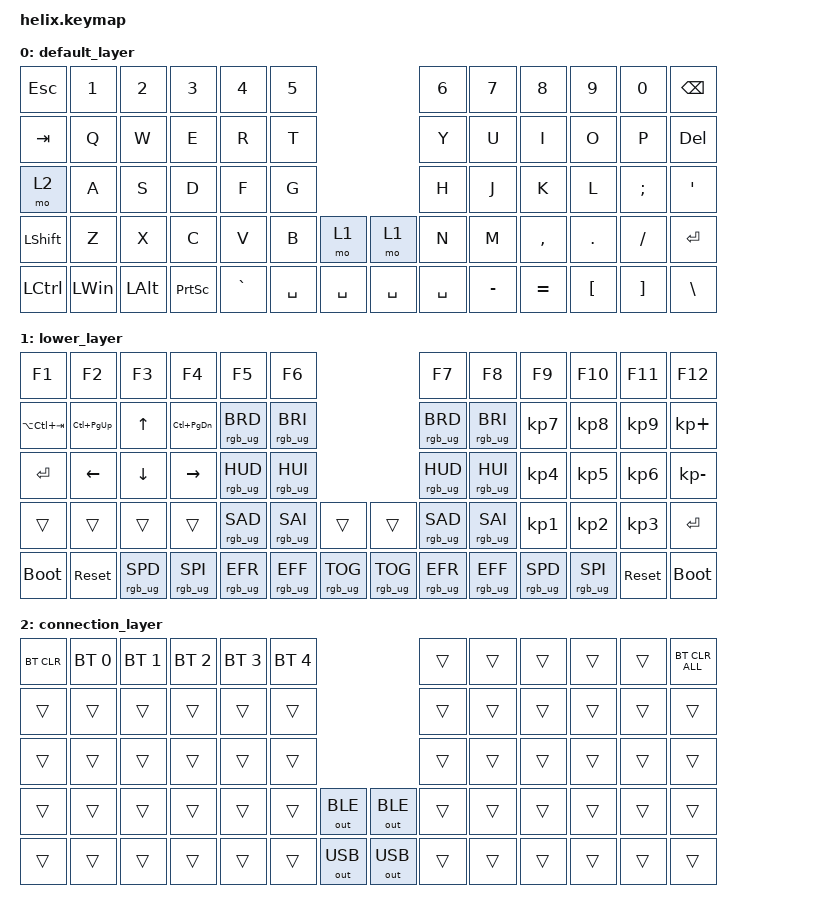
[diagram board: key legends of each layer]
/*
 * Copyright (c) 2020 The ZMK Contributors
 *
 * SPDX-License-Identifier: MIT
 */

#include <dt-bindings/led/led.h>
#include <behaviors.dtsi>
#include <dt-bindings/zmk/bt.h>
#include <dt-bindings/zmk/keys.h>
#include <dt-bindings/zmk/outputs.h>
#include <dt-bindings/zmk/rgb.h>

#define DEFAULT 0
#define LOWER  1
#define RAISE  2
#define ADJUST 3

/* NOTE: At the time of the creation of this keymap, there are no specified codes for 'eisuu' and 'kana' input in ZMK.
However, 'LANG1' and 'LANG2' are fully-functioning candidates for 'kana' and 'eisuu' input respectively.
As such, those are in use within the default layer at this time.*/

/ {
    chosen { zephyr,display = &oled; };

    keymap {
        compatible = "zmk,keymap";

        default_layer {
            // ----------------------------------------------------------------------------------------------------------------------------------------------------
            // |  ESC   |   1    |   2    |   3    |   4    |   5    |                                      |   6    |   7    |   8    |   9    |   0    |  BSPC  |
            // |  TAB   |   Q    |   W    |   E    |   R    |   T    |                                      |   Y    |   U    |   I    |   O    |   P    |  DEL   |
            // |  Lay2  |   A    |   S    |   D    |   F    |   G    |                                      |   H    |   J    |   K    |   L    |   ;    |   '    |
            // |  SHIFT |   Z    |   X    |   C    |   V    |   B    |  LBKT  |                    |  LBKT  |   N    |   M    |   ,    |   .    |   /    |  RET   |
            // |  CTRL  |  LGUI  |  ALT   |  PSCR  | GRAVE  | SPACE  |  SPACE |                    |  SPACE |  SPACE |  MINUS  | EQUAL |  [     |   ]    |   \    |

            bindings = <
&kp ESC           &kp N1        &kp N2    &kp N3           &kp N4     &kp N5                           &kp N6     &kp N7     &kp N8     &kp N9            &kp N0             &kp BACKSPACE
&kp TAB           &kp Q         &kp W     &kp E            &kp R      &kp T                            &kp Y      &kp U      &kp I      &kp O             &kp P              &kp DELETE
&mo 2             &kp A         &kp S     &kp D            &kp F      &kp G                            &kp H      &kp J      &kp K      &kp L             &kp SEMI           &kp SQT
&kp LSHFT         &kp Z         &kp X     &kp C            &kp V      &kp B      &mo 1      &mo 1      &kp N      &kp M      &kp COMMA  &kp PERIOD        &kp SLASH          &kp RET
&kp LEFT_CONTROL  &kp LEFT_WIN  &kp LALT  &kp PRINTSCREEN  &kp GRAVE  &kp SPACE  &kp SPACE  &kp SPACE  &kp SPACE  &kp MINUS  &kp EQUAL  &kp LEFT_BRACKET  &kp RIGHT_BRACKET  &kp BACKSLASH
            >;
        };

        lower_layer {
            // --------------------------------------------------------------------------------------------------------------------------------------------------------------------------------------
            // |     F1       |     F2       |    F3    |     F4         |    F5    |    F6    |                                  |    F7    |    F8    |    F9    |    F10   |    F11   |    F12   |
            // | LA(LC(TAB))  | LC(PAGE_UP)  |   UP     | LC(PAGE_DOWN)  | RGB_BRD  | RGB_BRI  |                                  | RGB_BRD  | RGB_BRI  |   KP_7   |   KP_8   |   KP_9   | KP_PLUS  |
            // |    ENTER     |    LEFT      |   DOWN   |    RIGHT       | RGB_HUD  | RGB_HUI  |                                  | RGB_HUD  | RGB_HUI  |   KP_4   |   KP_5   |   KP_6   | KP_MINUS |
            // |              |              |          |                | RGB_SAD  | RGB_SAI  |                                  | RGB_SAD  | RGB_SAI  |   KP_1   |   KP_2   |   KP_3   |  ENTER   |
            // |    BOOT      |    RESET     |          |                | RGB_EFR  | RGB_EFF  |   RGB_TOG   |                    | RGB_EFR  | RGB_EFF  |  KP_DOT  |   KP_0   |  RESET   |   BOOT   |

            bindings = <
&kp F1           &kp F2           &kp F3           &kp F4             &kp F5           &kp F6                                             &kp F7           &kp F8           &kp F9           &kp F10          &kp F11          &kp F12
&kp LA(LC(TAB))  &kp LC(PAGE_UP)  &kp UP_ARROW     &kp LC(PAGE_DOWN)  &rgb_ug RGB_BRD  &rgb_ug RGB_BRI                                    &rgb_ug RGB_BRD  &rgb_ug RGB_BRI  &kp KP_NUMBER_7  &kp KP_NUMBER_8  &kp KP_NUMBER_9  &kp KP_PLUS
&kp ENTER        &kp LEFT_ARROW   &kp DOWN_ARROW   &kp RIGHT_ARROW    &rgb_ug RGB_HUD  &rgb_ug RGB_HUI                                    &rgb_ug RGB_HUD  &rgb_ug RGB_HUI  &kp KP_NUMBER_4  &kp KP_NUMBER_5  &kp KP_NUMBER_6  &kp KP_MINUS
&trans           &trans           &trans           &trans             &rgb_ug RGB_SAD  &rgb_ug RGB_SAI  &trans           &trans           &rgb_ug RGB_SAD  &rgb_ug RGB_SAI  &kp KP_NUMBER_1  &kp KP_NUMBER_2  &kp KP_NUMBER_3  &kp ENTER
&bootloader      &sys_reset       &rgb_ug RGB_SPD  &rgb_ug RGB_SPI    &rgb_ug RGB_EFR  &rgb_ug RGB_EFF  &rgb_ug RGB_TOG  &rgb_ug RGB_TOG  &rgb_ug RGB_EFR  &rgb_ug RGB_EFF  &rgb_ug RGB_SPD  &rgb_ug RGB_SPI  &sys_reset       &bootloader
            >;
        };

        connection_layer {
            // ---------------------------------------------------------------------------------------------------------------------------------------------
            // | BT CLR | BT SEL0 | BT SEL1 | BT SEL2 | BT SEL3 | BT SEL4 |                         |         |       |       |       |       | BT CLR ALL |
            // |        |         |         |         |         |         |                         |         |       |       |       |       |            |
            // |        |         |         |         |         |         |                         |         |       |       |       |       |            |
            // |        |         |         |         |         | OUT BLE |                         | OUT BLE |       |       |       |       |            |
            // |        |         |         |         |         | OUT USB | SYS RESET | SYS RESET   | OUT USB |       |       |       |       |            |
            // |        |         |         |         |         | OUT TOG | BOOTLOADER | BOOTLOADER | OUT TOG |       |       |       |       |            |

            bindings = <
&bt BT_CLR  &bt BT_SEL 0  &bt BT_SEL 1  &bt BT_SEL 2  &bt BT_SEL 3  &bt BT_SEL 4                              &trans  &trans  &trans  &trans  &trans  &bt BT_CLR_ALL
&trans      &trans        &trans        &trans        &trans        &trans                                    &trans  &trans  &trans  &trans  &trans  &trans
&trans      &trans        &trans        &trans        &trans        &trans                                    &trans  &trans  &trans  &trans  &trans  &trans
&trans      &trans        &trans        &trans        &trans        &trans        &out OUT_BLE  &out OUT_BLE  &trans  &trans  &trans  &trans  &trans  &trans
&trans      &trans        &trans        &trans        &trans        &trans        &out OUT_USB  &out OUT_USB  &trans  &trans  &trans  &trans  &trans  &trans
            >;
        };
    };
};

/*RGB underglow*/

&pinctrl {
    spi3_default: spi3_default {
        group1 { psels = <NRF_PSEL(SPIM_MOSI, 0, 6)>; };
    };

    spi3_sleep: spi3_sleep {
        group1 {
            psels = <NRF_PSEL(SPIM_MOSI, 0, 6)>;
            low-power-enable;
        };
    };
};

&spi3 {
    compatible = "nordic,nrf-spim";
    status = "okay";
    pinctrl-0 = <&spi3_default>;
    pinctrl-1 = <&spi3_sleep>;
    pinctrl-names = "default", "sleep";

    led_strip: ws2812@0 {
        compatible = "worldsemi,ws2812-spi";
        label = "WS2812";

        /* SPI */

        reg = <0>;/* ignored, but necessary for SPI bindings */
        spi-max-frequency = <4000000>;

        /* WS2812 */

        chain-length = <32>;/* arbitrary; change at will */
        spi-one-frame = <0x70>;
        spi-zero-frame = <0x40>;
        color-mapping = <LED_COLOR_ID_GREEN LED_COLOR_ID_RED LED_COLOR_ID_BLUE>;
    };
};

/ {
    chosen { zmk,underglow = &led_strip; };
};

/*OLED display*/

&pro_micro_i2c {
    status = "okay";

    oled: ssd1306@3c {
        compatible = "solomon,ssd1306fb";
        reg = <0x3c>;
        label = "DISPLAY";
        width = <128>;
        height = <32>;
        segment-offset = <0>;
        page-offset = <0>;
        display-offset = <0>;
        multiplex-ratio = <31>;
        segment-remap;
        com-invdir;
        com-sequential;
        prechargep = <0x22>;
        inversion-on;
    };
};
